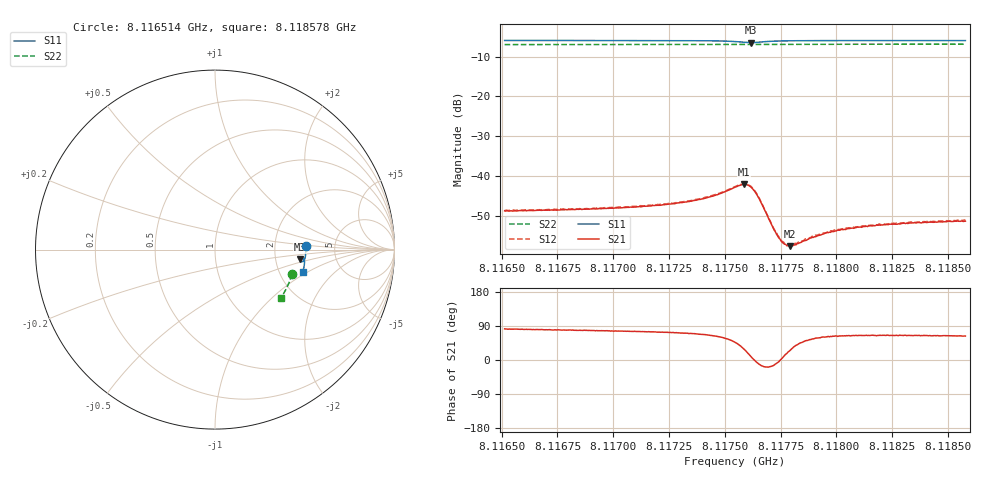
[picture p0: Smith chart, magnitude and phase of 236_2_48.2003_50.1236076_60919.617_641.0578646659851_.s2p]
#  HZ  S  RI  R  50.00
! Rohde & Schwarz Vector Network Analyzer
! Rohde-Schwarz,ZNB20-2Port,1311601062101988,3.16
! Created: UTC 3/20/2024, 11:46:39 AM
! freq[Hz]  re:S11  im:S11  re:S21  im:S21  re:S12  im:S12  re:S22  im:S22
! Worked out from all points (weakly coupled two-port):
!   401 points, 8.116514 GHz to 8.118578 GHz, reference 50 ohm
!   highest |S21| = -42.18 dB at 8.117587 GHz (marker M1); lowest = -57.7 dB at 8.117794 GHz (marker M2)
!   lowest |S11| = -6.4 dB at 8.117618 GHz (marker M3), VSWR 2.82, Z = 138 - j19.5 ohm
!   |S11| at or under -10 dB: nowhere
!   |S22| runs from -6.9 to -6.8 dB; largest |S21 - S12| = 0.0002
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8.1165136e9  0.5064 0.0201  0.000498 0.0036  0.000579 0.00359  0.4284 -0.1366
8.1168594e9  0.5062 -0.00655  0.000772 0.00368  0.000794 0.00377  0.4213 -0.1597
8.1172052e9  0.5041 -0.0341  0.00121 0.00409  0.00129 0.00414  0.4131 -0.1825
8.1173239e9  0.5023 -0.0446  0.00154 0.00443  0.00159 0.0045  0.41 -0.1901
8.1174013e9  0.5002 -0.052  0.00197 0.00473  0.00203 0.0048  0.4077 -0.195
8.1174839e9  0.4954 -0.0613  0.00301 0.00523  0.00312 0.00531  0.4051 -0.2005
8.1175459e9  0.4863 -0.067  0.00493 0.00523  0.00509 0.00527  0.4029 -0.2045
8.1175872e9  0.476 -0.0642  0.00687 0.00367  0.00701 0.00371  0.4016 -0.2065
8.1176026e9  0.4732 -0.0602  0.00726 0.00247  0.00742 0.00245  0.401 -0.2072
8.1176181e9  0.4727 -0.0548  0.00711 0.00108  0.00726 0.00107  0.4006 -0.208
8.1176336e9  0.475 -0.0499  0.00641 -0.00011  0.00653 -0.000184  0.4004 -0.2088
8.1176491e9  0.4789 -0.0469  0.00539 -0.000858  0.00545 -0.000933  0.3999 -0.2097
8.1177214e9  0.4941 -0.0517  0.00203 -0.000484  0.00206 -0.000502  0.3986 -0.2144
8.1177472e9  0.4963 -0.0552  0.0016 -3.21e-05  0.00161 -5.65e-05  0.3978 -0.2161
8.1177678e9  0.4973 -0.0582  0.00135 0.000274  0.00139 0.000258  0.3972 -0.2176
8.1177781e9  0.4977 -0.0595  0.00126 0.000391  0.00128 0.000397  0.397 -0.2181
8.1177936e9  0.4981 -0.0614  0.00117 0.000568  0.00122 0.000611  0.3965 -0.2191
8.1178091e9  0.4983 -0.0631  0.0011 0.000758  0.00114 0.00076  0.396 -0.2201
8.1178917e9  0.4988 -0.0719  0.000951 0.00138  0.00101 0.00141  0.3934 -0.2254
8.1180156e9  0.4978 -0.0831  0.000922 0.00185  0.00097 0.00187  0.3893 -0.2333
8.1182375e9  0.4948 -0.1011  0.00105 0.00223  0.0011 0.00227  0.3819 -0.2467
8.1185782e9  0.4886 -0.1267  0.00121 0.0024  0.00128 0.00249  0.369 -0.267
